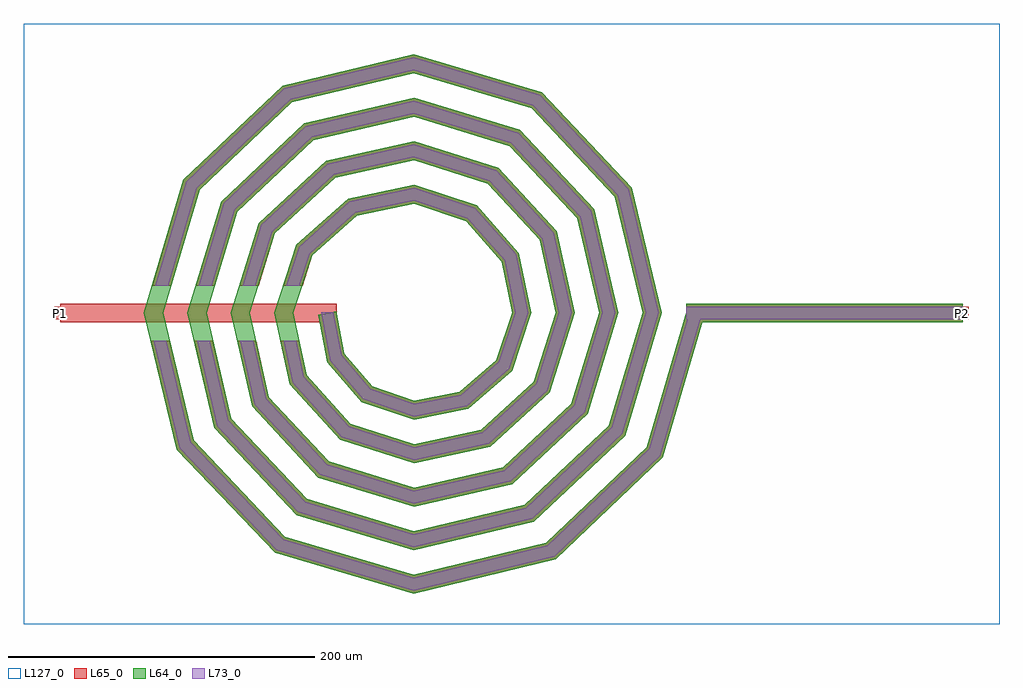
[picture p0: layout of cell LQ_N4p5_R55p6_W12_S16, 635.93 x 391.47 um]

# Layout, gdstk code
import gdstk
lib = gdstk.Library(unit=1e-6, precision=1e-09)
def R(c, l, rs):  # rectangles x0, y0, x1, y1
    for r in rs: c.add(gdstk.rectangle(r[:2], r[2:], *l))
def P(c, l, *ps):  # polygons
    for p in ps: c.add(gdstk.Polygon(p, *l))
L64_0 = (64, 0)
L65_0 = (65, 0)
L73_0 = (73, 0)
L127_0 = (127, 0)

lq_n4p5_r55p6_w12_s16 = lib.new_cell('LQ_N4p5_R55p6_W12_S16')
R(lq_n4p5_r55p6_w12_s16, L64_0, [(177.686,-6,357.686,6)])
P(lq_n4p5_r55p6_w12_s16, L64_0, [(-45.149,-26.605),(-26.993,-47.648),(0.431,-57.12),(30.1,-51.303),(53.755,-30.572),(64.198,0.388),(57.453,33.604),(34.144,59.866),(0.353,71.277),(-37.115,63.6),(-65.981,37.71),(-78.356,0.323),(-69.744,-40.63),(-41.272,-72.098),(0.298,-85.435),(44.149,-75.887),(78.218,-44.832),(92.515,0.277),(82.028,47.672),(48.388,84.34),(0.258,99.594),(-51.196,88.169),(-90.462,51.943),(-106.674,0.242),(-94.308,-54.723),(-55.496,-96.586),(0.228,-113.754),(58.251,-100.446),(102.711,-59.047),(120.834,0.215),(106.584,61.78),(62.597,108.837),(0.204,127.914),(-65.311,112.721),(-114.963,66.147),(-134.994,0.194),(-118.857,-68.842),(-69.695,-121.09),(0.184,-142.074),(72.375,-124.993),(127.217,-73.242),(149.155,0.176),(131.129,75.908),(76.789,133.345),(0.168,156.235),(-79.441,137.264),(-139.473,80.336),(-163.315,0.161),(-143.399,-82.975),(-83.882,-145.601),(0.155,-170.395),(86.51,-149.534),(151.73,-87.427),(177.929,1.692),(189.442,-1.692),(162.335,-93.898),(92.455,-160.443),(0.155,-182.815),(-90.364,-156.2),(-154.314,-88.91),(-175.735,0.161),(-150.065,86.829),(-85.364,148.186),(0.168,168.654),(83.295,143.929),(142.058,81.817),(161.574,0.176),(137.794,-79.762),(78.269,-135.93),(0.184,-154.493),(-76.229,-131.657),(-129.802,-74.721),(-147.412,0.194),(-125.52,72.697),(-71.173,123.675),(0.204,140.332),(69.165,119.383),(117.549,67.623),(133.251,0.215),(113.245,-65.635),(64.072,-111.423),(0.228,-126.17),(-62.106,-107.106),(-105.297,-60.519),(-119.089,0.242),(-100.967,58.579),(-56.966,99.173),(0.258,112.008),(55.053,94.826),(93.049,53.41),(104.927,0.277),(88.684,-51.529),(49.851,-86.927),(0.298,-97.846),(-48.008,-82.54),(-80.806,-46.29),(-90.765,0.323),(-76.394,44.49),(-42.725,74.687),(0.353,83.683),(40.976,70.245),(68.57,39.156),(76.601,0.388),(64.093,-37.468),(35.579,-62.457),(0.431,-69.518),(-33.966,-57.935),(-56.347,-31.994),(-62.136,-1.105),(-50.341,1.105)])
R(lq_n4p5_r55p6_w12_s16, L65_0, [(-230.239,-6,-50.239,6), (177.686,-6,357.686,6), (-234.239,-4,-226.239,4), (353.686,-4,361.686,4)])
P(lq_n4p5_r55p6_w12_s16, L65_0, [(-143.399,-82.975),(-83.882,-145.601),(0.155,-170.395),(86.51,-149.534),(151.73,-87.427),(177.929,1.692),(189.442,-1.692),(162.335,-93.899),(92.456,-160.443),(0.155,-182.815),(-90.364,-156.2),(-154.314,-88.91),(-171.367,-18),(-159.025,-18)],
  [(-118.857,-68.842),(-69.695,-121.09),(0.184,-142.075),(72.375,-124.993),(127.217,-73.243),(149.155,0.176),(131.129,75.908),(76.79,133.345),(0.168,156.235),(-79.441,137.264),(-139.473,80.336),(-157.936,18),(-170.451,18),(-150.065,86.829),(-85.364,148.186),(0.168,168.654),(83.295,143.93),(142.058,81.817),(161.574,0.176),(137.794,-79.762),(78.27,-135.93),(0.184,-154.493),(-76.229,-131.657),(-129.802,-74.721),(-143.136,-18),(-130.809,-18)],
  [(-94.308,-54.723),(-55.496,-96.586),(0.228,-113.754),(58.251,-100.446),(102.711,-59.047),(120.834,0.215),(106.584,61.78),(62.597,108.837),(0.204,127.914),(-65.311,112.721),(-114.963,66.147),(-129.501,18),(-142.036,18),(-125.521,72.697),(-71.173,123.675),(0.204,140.332),(69.166,119.383),(117.549,67.623),(133.251,0.215),(113.245,-65.635),(64.072,-111.423),(0.228,-126.17),(-62.106,-107.106),(-105.297,-60.519),(-114.949,-18),(-102.643,-18)],
  [(-69.745,-40.63),(-41.273,-72.098),(0.298,-85.435),(44.149,-75.887),(78.218,-44.832),(92.515,0.277),(82.029,47.672),(48.388,84.34),(0.258,99.594),(-51.196,88.169),(-90.463,51.943),(-101.007,18),(-113.573,18),(-100.967,58.579),(-56.966,99.173),(0.258,112.009),(55.053,94.826),(93.049,53.41),(104.927,0.277),(88.684,-51.529),(49.852,-86.927),(0.298,-97.846),(-48.008,-82.54),(-80.806,-46.29),(-86.85,-18),(-74.579,-18)],
  [(-26.993,-47.648),(0.431,-57.12),(30.1,-51.303),(53.755,-30.572),(64.198,0.388),(57.453,33.604),(34.144,59.866),(0.353,71.277),(-37.115,63.6),(-65.981,37.71),(-72.394,18),(-85.013,18),(-76.394,44.49),(-42.725,74.687),(0.353,83.683),(40.976,70.245),(68.57,39.156),(76.601,0.388),(64.093,-37.468),(35.579,-62.457),(0.431,-69.518),(-33.966,-57.935),(-56.347,-31.994),(-62.136,-1.105),(-50.341,1.105),(-45.149,-26.605)])
R(lq_n4p5_r55p6_w12_s16, L73_0, [(177.686,-4,357.686,4)])
P(lq_n4p5_r55p6_w12_s16, L73_0, [(-145.219,-83.965),(-84.962,-147.368),(0.103,-172.465),(87.501,-151.352),(153.498,-88.506),(179.848,1.128),(187.523,-1.128),(160.568,-92.82),(91.465,-158.625),(0.103,-180.745),(-89.283,-154.434),(-152.495,-87.921),(-169.31,-18),(-161.082,-18)],
  [(-120.681,-69.822),(-70.784,-122.851),(0.123,-144.144),(73.357,-126.816),(128.98,-74.329),(151.225,0.117),(132.95,76.892),(77.874,135.109),(0.112,158.305),(-80.428,139.085),(-141.238,81.418),(-160.022,18),(-168.365,18),(-148.3,85.747),(-84.377,146.366),(0.112,166.584),(82.211,142.165),(140.236,80.832),(159.504,0.117),(136.031,-78.675),(77.287,-134.107),(0.123,-152.423),(-75.14,-129.896),(-127.978,-73.742),(-141.081,-18),(-132.863,-18)],
  [(-96.139,-55.689),(-56.598,-98.34),(0.152,-115.824),(59.221,-102.275),(104.467,-60.145),(122.904,0.144),(108.411,62.754),(63.692,110.595),(0.136,129.984),(-66.288,114.546),(-116.723,67.238),(-131.59,18),(-139.947,18),(-123.761,71.605),(-70.196,121.849),(0.136,138.262),(68.071,117.625),(115.721,66.649),(131.182,0.144),(111.49,-64.537),(63.102,-109.593),(0.152,-124.101),(-61.005,-105.353),(-103.466,-59.553),(-112.898,-18),(-104.694,-18)],
  [(-71.588,-41.573),(-42.395,-73.839),(0.199,-87.504),(45.1,-77.727),(79.962,-45.948),(94.583,0.185),(83.865,48.628),(49.499,86.087),(0.172,101.663),(-52.158,90.003),(-92.213,53.049),(-103.101,18),(-111.479,18),(-99.216,57.473),(-56.004,97.339),(0.172,109.94),(53.942,93.078),(91.212,52.453),(102.859,0.185),(86.94,-50.413),(48.901,-85.087),(0.199,-95.778),(-46.885,-80.8),(-78.962,-45.347),(-84.805,-18),(-76.624,-18)],
  [(-28.155,-49.363),(0.288,-59.187),(31.013,-53.162),(55.478,-31.721),(66.265,0.259),(59.306,34.529),(35.282,61.596),(0.235,73.344),(-38.05,65.448),(-67.716,38.84),(-74.497,18),(-82.91,18),(-74.658,43.36),(-41.79,72.839),(0.235,81.615),(39.837,68.515),(66.718,38.23),(74.534,0.259),(62.37,-36.318),(34.666,-60.598),(0.288,-67.452),(-32.804,-56.221),(-54.481,-31.096),(-60.17,0.737),(-52.307,0.737),(-47.015,-27.503)])
R(lq_n4p5_r55p6_w12_s16, L127_0, [(-254.239,-202.815,381.686,188.654)])
lq_n4p5_r55p6_w12_s16.add(gdstk.Label('P2', (357.686,0), layer=65, texttype=0))
lq_n4p5_r55p6_w12_s16.add(gdstk.Label('P1', (-230.239,0), layer=65, texttype=0))
lq_n4p5_r55p6_w12_s16.add(gdstk.Label('P2', (361.686,0), layer=145, texttype=0))
lq_n4p5_r55p6_w12_s16.add(gdstk.Label('P1', (-234.239,0), layer=145, texttype=0))

lib.write_gds('LQ_N4p5_R55p6_W12_S16.gds')
